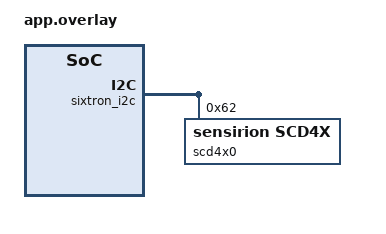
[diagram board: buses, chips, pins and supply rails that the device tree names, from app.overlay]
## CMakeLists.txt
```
# Copyright (c) 2024 CATIE
# SPDX-License-Identifier: Apache-2.0

cmake_minimum_required(VERSION 3.20.0)
find_package(Zephyr REQUIRED HINTS $ENV{ZEPHYR_BASE})
project(scd4x)

target_sources(app PRIVATE src/main.c)
```

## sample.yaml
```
sample:
  name: SCD4x CO2 sensor sample
tests:
  sample.default:
    tags: sensor
    integration_platforms:
      - zest_core_stm32l4a6rg
    depends_on: i2c
```

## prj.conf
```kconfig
CONFIG_GPIO=y
CONFIG_SENSOR=y
CONFIG_LOG=y
CONFIG_SCD4X=y
```

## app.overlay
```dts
&sixtron_i2c {
	status = "okay";

	scd4x0: scd4x@62 {
		compatible = "sensirion,scd4x";
		reg = <0x62>;
	};
};
```

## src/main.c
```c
/*
 * Copyright (c) 2024 CATIE
 *
 * SPDX-License-Identifier: Apache-2.0
 */

#include <scd4x.h>
#include <zephyr/drivers/gpio.h>
#include <zephyr/drivers/sensor.h>
#include <zephyr/kernel.h>

/* 1000 msec = 1 sec */
#define SLEEP_TIME_MS 10000

/* The devicetree node identifier for the "led0" alias. */
#define LED0_NODE DT_ALIAS(led0)

/*
 * A build error on this line means your board is unsupported.
 * See the sample documentation for information on how to fix this.
 */
static const struct gpio_dt_spec led = GPIO_DT_SPEC_GET(LED0_NODE, gpios);

int main(void)
{
    int ret;
    const struct device *sensor;

    printk("Zephyr Example Application\n");

    sensor = DEVICE_DT_GET(DT_NODELABEL(scd4x0));
    if (!device_is_ready(sensor)) {
        printk("Sensor not ready");
        return 0;
    }

    if (!gpio_is_ready_dt(&led)) {
        return 0;
    }

    ret = gpio_pin_configure_dt(&led, GPIO_OUTPUT_ACTIVE);
    if (ret < 0) {
        return 0;
    }

    // // Check I2C peripheral on bus, send a bytes to each address and check ACK */
    // const struct scd4x_config *config = sensor->config;
    // for (uint8_t i = 0; i < 128; i++) {
    // 	uint8_t data = 0x00;
    // 	ret = i2c_write(config->i2c.bus, &data, 1, i);
    // 	if (ret == 0) {
    // 		printk("I2C peripheral found at address 0x%02x\n", i);
    // 	}
    // 	k_sleep(K_MSEC(10));
    // }

    struct sensor_value serial_number;
    ret = sensor_attr_get(sensor, SENSOR_CHAN_CO2, SCD4X_ATTR_SERIAL_NUMBER, &serial_number);
    if (ret < 0) {
        printk("Could not get attribute (%d)", ret);
        return 0;
    }

    // print val1 and val2 in hex format
    printk("Serial number: 0x%08x%08x\n", serial_number.val2, serial_number.val1);

    while (1) {
        struct sensor_value val;

        ret = sensor_sample_fetch(sensor);
        if (ret < 0) {
            printk("Could not fetch sample (%d)\n", ret);
        }

        ret = sensor_channel_get(sensor, SENSOR_CHAN_CO2, &val);
        if (ret < 0) {
            printk("Could not get sample (%d)", ret);
            return 0;
        }
        printk("CO2 value: %d ppm\n", val.val1);

        ret = sensor_channel_get(sensor, SENSOR_CHAN_HUMIDITY, &val);
        if (ret < 0) {
            printk("Could not get sample (%d)", ret);
            return 0;
        }
        printk("Humidity value: %d.%06d %%RH\n", val.val1, val.val2);

        ret = sensor_channel_get(sensor, SENSOR_CHAN_AMBIENT_TEMP, &val);
        if (ret < 0) {
            printk("Could not get sample (%d)", ret);
            return 0;
        }
        printk("Temperature value: %d.%06d C\n", val.val1, val.val2);

        ret = gpio_pin_toggle_dt(&led);
        if (ret < 0) {
            return 0;
        }
        k_msleep(SLEEP_TIME_MS);
    }
    return 0;
}
```
